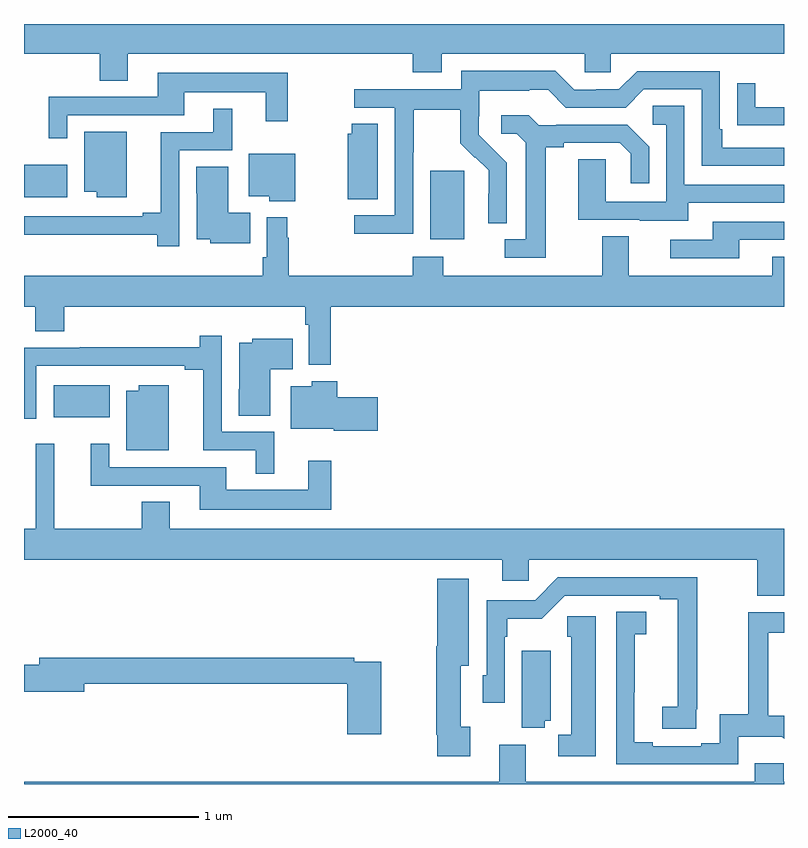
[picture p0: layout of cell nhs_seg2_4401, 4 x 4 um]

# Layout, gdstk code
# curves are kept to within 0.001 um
import gdstk
lib = gdstk.Library(unit=1e-6, precision=1e-09)
def R(c, l, rs):  # rectangles x0, y0, x1, y1
    for r in rs: c.add(gdstk.rectangle(r[:2], r[2:], *l))
def P(c, l, *ps):  # polygons
    for p in ps: c.add(gdstk.Polygon(p, *l))
L2000_40 = (2000, 40)

nhs_seg2_4401 = lib.new_cell('nhs_seg2_4401')
R(nhs_seg2_4401, L2000_40, [(349.157,637.73,349.45,637.9), (351.137,638.666,351.316,639.027), (349,638.888,349.228,639.058)])
P(nhs_seg2_4401, L2000_40, [(349.546,639.644),(351.047,639.644),(351.047,639.545),(351.199,639.545),(351.199,639.644),(351.951,639.644),(351.951,639.546),(352.089,639.546),(352.089,639.644),(353,639.644),(353,639.8),(349,639.8),(349,639.644),(349.399,639.644),(349.399,639.502),(349.546,639.502)],
  [(351.048,639.124),(351.051,639.124),(351.051,639.348),(351.295,639.348),(351.295,639.173),(351.372,639.096),(351.375,639.099),(351.446,639.029),(351.446,638.906),(351.444,638.906),(351.444,638.752),(351.54,638.752),(351.54,639.07),(351.394,639.218),(351.394,639.315),(351.396,639.315),(351.396,639.449),(351.659,639.449),(351.659,639.453),(351.759,639.453),(351.852,639.36),(352.167,639.36),(352.263,639.456),(352.566,639.456),(352.566,639.054),(353,639.054),(353,639.15),(352.675,639.15),(352.675,639.247),(352.662,639.247),(352.662,639.552),(352.227,639.552),(352.131,639.456),(352.013,639.456),(352.013,639.453),(351.897,639.453),(351.797,639.553),(351.3,639.553),(351.3,639.456),(350.739,639.456),(350.739,639.36),(350.952,639.36),(350.952,638.793),(350.739,638.793),(350.739,638.695),(351.048,638.695)],
  [(349.227,639.321),(349.843,639.321),(349.843,639.44),(350.273,639.44),(350.273,639.288),(350.387,639.288),(350.387,639.544),(349.703,639.544),(349.703,639.417),(349.13,639.417),(349.13,639.198),(349.227,639.198)],
  [(353,639.363),(352.849,639.363),(352.849,639.487),(352.753,639.487),(352.753,639.268),(352.855,639.268),(352.855,639.267),(353,639.267)],
  [(352.495,638.859),(353,638.859),(353,638.955),(352.476,638.955),(352.476,639.371),(352.308,639.371),(352.308,639.27),(352.38,639.27),(352.38,638.865),(352.062,638.865),(352.062,639.089),(351.917,639.089),(351.917,638.769),(352.241,638.769),(352.241,638.765),(352.495,638.765)],
  [(349.818,639.135),(350.095,639.135),(350.095,639.355),(349.997,639.355),(349.997,639.231),(349.721,639.231),(349.721,638.807),(349.625,638.807),(349.625,638.787),(349,638.787),(349,638.691),(349.072,638.691),(349.072,638.69),(349.702,638.69),(349.702,638.631),(349.818,638.631)],
  [(351.745,639.152),(351.841,639.152),(351.841,639.174),(352.136,639.174),(352.193,639.117),(352.193,638.961),(352.29,638.961),(352.29,639.154),(352.174,639.27),(351.802,639.27),(351.802,639.267),(351.708,639.267),(351.656,639.319),(351.513,639.319),(351.513,639.222),(351.594,639.222),(351.641,639.175),(351.641,638.667),(351.531,638.667),(351.531,638.571),(351.745,638.571)],
  [(350.863,639.275),(350.725,639.275),(350.725,639.222),(350.705,639.222),(350.705,638.878),(350.863,638.878)],
  [(349.54,639.232),(349.316,639.232),(349.316,638.918),(349.382,638.918),(349.382,638.888),(349.54,638.888)],
  [(350.428,639.118),(350.183,639.118),(350.183,638.894),(350.292,638.894),(350.292,638.867),(350.428,638.867)],
  [(350.192,638.806),(350.074,638.806),(350.074,639.05),(349.907,639.05),(349.907,638.91),(349.91,638.91),(349.91,638.666),(349.98,638.666),(349.98,638.645),(350.192,638.645)],
  [(350.615,638.312),(353,638.312),(353,638.575),(352.937,638.575),(352.937,638.476),(352.183,638.476),(352.183,638.684),(352.043,638.684),(352.043,638.476),(351.207,638.476),(351.207,638.575),(351.047,638.575),(351.047,638.476),(350.393,638.476),(350.393,638.675),(350.386,638.675),(350.386,638.782),(350.277,638.782),(350.277,638.572),(350.257,638.572),(350.257,638.476),(349,638.476),(349,638.312),(349.058,638.312),(349.058,638.182),(349.211,638.182),(349.211,638.312),(350.479,638.312),(350.479,638.216),(350.499,638.216),(350.499,638.006),(350.615,638.006)],
  [(352.765,638.664),(353,638.664),(353,638.76),(352.625,638.76),(352.625,638.664),(352.401,638.664),(352.401,638.568),(352.765,638.568)],
  [(350.317,637.653),(350.04,637.653),(350.04,638.158),(349.924,638.158),(349.924,638.099),(349.294,638.099),(349.294,638.097),(349,638.097),(349,637.722),(349.065,637.722),(349.065,638.001),(349.847,638.001),(349.847,637.981),(349.943,637.981),(349.943,637.557),(350.219,637.557),(350.219,637.433),(350.317,637.433)],
  [(350.296,637.982),(350.414,637.982),(350.414,638.143),(350.202,638.143),(350.202,638.122),(350.132,638.122),(350.132,637.878),(350.129,637.878),(350.129,637.738),(350.296,637.738)],
  [(350.863,637.836),(350.648,637.836),(350.648,637.921),(350.514,637.921),(350.514,637.894),(350.405,637.894),(350.405,637.67),(350.631,637.67),(350.631,637.658),(350.863,637.658)],
  [(349.762,637.9),(349.604,637.9),(349.604,637.87),(349.538,637.87),(349.538,637.556),(349.762,637.556)],
  [(350.617,637.501),(350.495,637.501),(350.495,637.348),(350.065,637.348),(350.065,637.467),(349.449,637.467),(349.449,637.591),(349.352,637.591),(349.352,637.371),(349.925,637.371),(349.925,637.244),(350.617,637.244)],
  [(353,637.144),(349.768,637.144),(349.768,637.286),(349.621,637.286),(349.621,637.144),(349.16,637.144),(349.16,637.591),(349.061,637.591),(349.061,637.144),(349,637.144),(349,636.98),(351.518,636.98),(351.518,636.87),(351.657,636.87),(351.657,636.98),(352.858,636.98),(352.858,636.79),(353,636.79)],
  [(352.538,636.193),(352.544,636.193),(352.544,636.888),(351.81,636.888),(351.69,636.768),(351.435,636.768),(351.435,636.372),(351.414,636.372),(351.414,636.228),(351.531,636.228),(351.531,636.575),(351.544,636.575),(351.544,636.671),(351.725,636.671),(351.846,636.792),(352.346,636.792),(352.346,636.772),(352.442,636.772),(352.441,636.206),(352.359,636.206),(352.359,636.091),(352.538,636.091)],
  [(351.349,636.102),(351.298,636.102),(351.298,636.422),(351.34,636.422),(351.34,636.88),(351.176,636.88),(351.176,636.526),(351.169,636.526),(351.169,636.058),(351.176,636.058),(351.176,635.946),(351.349,635.946)],
  [(352.758,636.05),(352.987,636.05),(353,636.037),(353,636.16),(352.916,636.16),(352.916,636.597),(353,636.597),(353,636.705),(352.813,636.705),(352.813,636.167),(352.662,636.167),(352.662,636.014),(352.565,636.014),(352.565,636),(352.309,636),(352.309,636.02),(352.213,636.02),(352.213,636.283),(352.215,636.283),(352.215,636.587),(352.276,636.587),(352.276,636.707),(352.116,636.707),(352.116,635.904),(352.758,635.904)],
  [(352.009,636.682),(351.859,636.682),(351.859,636.576),(351.881,636.576),(351.881,636.06),(351.813,636.06),(351.813,635.945),(352.009,635.945)],
  [(351.74,636.134),(351.772,636.134),(351.772,636.502),(351.62,636.502),(351.62,636.097),(351.74,636.097)],
  [(350.88,636.444),(350.738,636.444),(350.738,636.464),(349.079,636.464),(349.079,636.428),(349,636.428),(349,636.286),(349.318,636.286),(349.318,636.328),(350.702,636.328),(350.702,636.063),(350.88,636.063)],
  [(353,635.812),(352.999,635.812),(352.999,635.91),(352.847,635.91),(352.847,635.812),(351.64,635.812),(351.64,636.007),(351.5,636.007),(351.5,635.812),(349,635.812),(349,635.8),(353,635.8)])

lib.write_gds('nhs_seg2_4401.gds')
